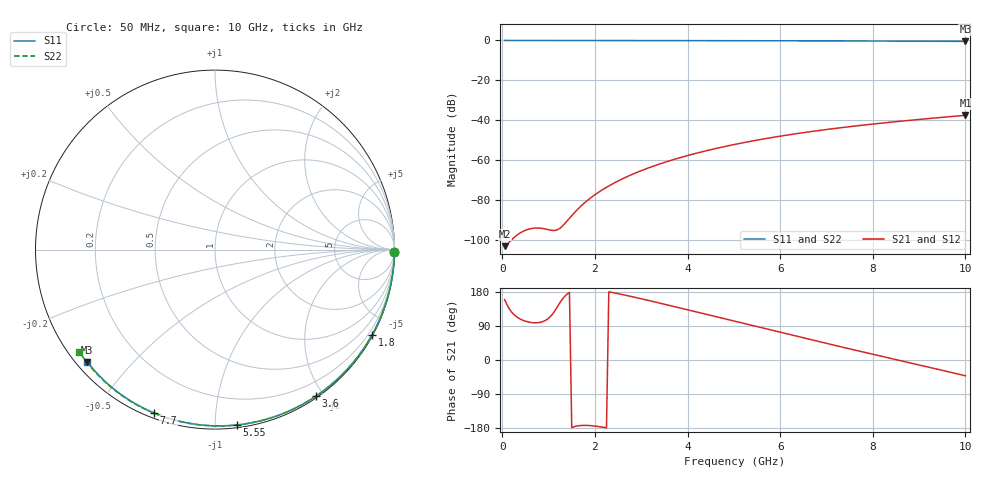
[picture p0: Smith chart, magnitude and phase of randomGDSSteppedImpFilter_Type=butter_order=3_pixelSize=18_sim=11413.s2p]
! freq	dB(S11)	phase(S11)	dB(S12)	phase(S12)
!  dB(S21)	phase(S21)	dB(S22)	phase(S22)
!S-par simulation data
#  GHz  S  DB  R 50
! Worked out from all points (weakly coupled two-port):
!   200 points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, 50 MHz to 10 GHz, reference 50 ohm
!   highest |S21| = -37.49 dB at 10 GHz (marker M1); lowest = -103.0 dB at 50 MHz (marker M2)
!   lowest |S11| = -0.5 dB at 10 GHz (marker M3), VSWR 36.85, Z = 1.55 - j18.8 ohm
!   |S11| at or under -10 dB: nowhere
!   |S22| runs from -0.5 to 0.0 dB; largest |S21 - S12| = 0
!   S11 on the Smith chart (normalised r, x): 50 MHz: open; 1.8 GHz: 0.03, -3.95; 3.6 GHz: 0.02, -1.90; 5.55 GHz: 0.02, -1.13; 7.7 GHz: 0.02, -0.69; 10 GHz: 0.03, -0.38
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0.05  -0.00 -0.8  -102.99 159.3  -102.99 159.3  -0.00 -0.8
0.45  -0.01 -7.2  -95.54 104.6  -95.54 104.6  -0.01 -7.4
0.9  -0.02 -14.4  -94.24 102.5  -94.24 102.5  -0.02 -14.8
1.75  -0.04 -27.6  -81.83 -172.6  -81.83 -172.6  -0.04 -28.5
1.8  -0.04 -28.4  -80.82 -172.5  -80.82 -172.5  -0.04 -29.3
1.85  -0.04 -29.2  -79.87 -172.8  -79.87 -172.8  -0.04 -30.1
2  -0.04 -31.5  -77.25 -174.3  -77.25 -174.3  -0.04 -32.5
2.15  -0.04 -33.8  -74.93 -176.9  -74.93 -176.9  -0.04 -34.9
2.35  -0.05 -36.9  -72.19 178.7  -72.19 178.7  -0.05 -38.0
2.55  -0.05 -39.9  -69.77 173.8  -69.77 173.8  -0.05 -41.1
2.95  -0.06 -45.9  -65.66 163.0  -65.66 163.0  -0.06 -47.3
3.4  -0.07 -52.6  -61.82 150.1  -61.82 150.1  -0.07 -54.2
3.6  -0.07 -55.5  -60.33 144.3  -60.33 144.3  -0.08 -57.2
4.3  -0.09 -65.6  -55.81 123.6  -55.81 123.6  -0.10 -67.5
5.05  -0.12 -76.0  -51.90 101.3  -51.90 101.3  -0.12 -78.3
5.55  -0.14 -82.8  -49.69 86.4  -49.69 86.4  -0.14 -85.3
6.1  -0.16 -90.1  -47.55 70.1  -47.55 70.1  -0.16 -92.8
6.7  -0.19 -97.9  -45.51 52.5  -45.51 52.5  -0.19 -100.8
7.7  -0.25 -110.6  -42.63 23.7  -42.63 23.7  -0.26 -113.9
8.35  -0.30 -118.6  -41.01 5.3  -41.01 5.3  -0.31 -122.2
9.2  -0.38 -129.0  -39.11 -18.6  -39.11 -18.6  -0.39 -133.0
10  -0.47 -138.7  -37.49 -41.7  -37.49 -41.7  -0.48 -143.1
